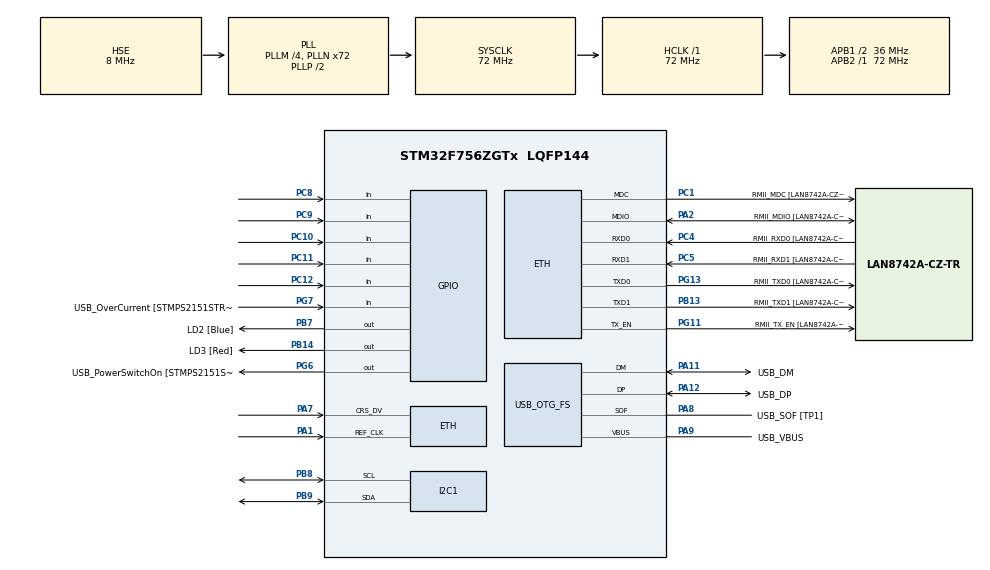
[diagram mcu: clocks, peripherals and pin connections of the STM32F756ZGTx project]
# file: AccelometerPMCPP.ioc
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ETH.MediaInterface=HAL_ETH_RMII_MODE
ETH.PHY_Name=LAN8742A_PHY_ADDRESS
ETH.PHY_Value=0
ETH.PhyAddress=0
I2C1.Timing=0x00808CD2
LWIP.BSP.number=1
LWIP.GATEWAY_ADDRESS=003.053.008.250
LWIP.IP_ADDRESS=003.053.017.021
LWIP.LWIP_DHCP=0
LWIP.LWIP_DNS=1
LWIP.LWIP_SMTP=0
LWIP.LWIP_SNMP=0
LWIP.LWIP_SNTP=1
LWIP.NETMASK_ADDRESS=255.255.000.000
LWIP.Version=v2.1.2_Cube
LWIP0.BSP.STBoard=false
LWIP0.BSP.api=BSP_COMPONENT_DRIVER
LWIP0.BSP.component=LAN8742
LWIP0.BSP.instance=LAN8742
LWIP0.BSP.name=Driver_PHY
LWIP0.BSP.semaphore=S_LAN8742
LWIP0.BSP.solution=LAN8742
Mcu.Family=STM32F7
Mcu.Name=STM32F756ZGTx
Mcu.Package=LQFP144
NVIC.PriorityGroup=NVIC_PRIORITYGROUP_4
PA1.Mode=RMII
PA1.Signal=ETH_REF_CLK
PA10.GPIO_Label=USB_ID
PA10.Signal=USB_OTG_FS_ID
PA11.GPIO_Label=USB_DM
PA11.Mode=Device_Only
PA11.Signal=USB_OTG_FS_DM
PA12.GPIO_Label=USB_DP
PA12.Mode=Device_Only
PA12.Signal=USB_OTG_FS_DP
PA13.GPIO_Label=TMS
PA13.Mode=Serial_Wire
PA13.Signal=SYS_JTMS-SWDIO
PA14.GPIO_Label=TCK
PA14.Mode=Serial_Wire
PA14.Signal=SYS_JTCK-SWCLK
PA2.GPIO_Label=RMII_MDIO [LAN8742A-CZ-TR_MDIO]
PA2.Mode=RMII
PA2.Signal=ETH_MDIO
PA7.Mode=RMII
PA7.Signal=ETH_CRS_DV
PA8.GPIO_Label=USB_SOF [TP1]
PA8.Mode=Activate_SOF_FS
PA8.Signal=USB_OTG_FS_SOF
PA9.GPIO_Label=USB_VBUS
PA9.Mode=Activate_VBUS
PA9.Signal=USB_OTG_FS_VBUS
PB13.GPIO_Label=RMII_TXD1 [LAN8742A-CZ-TR_TXD1]
PB13.Mode=RMII
PB13.Signal=ETH_TXD1
PB14.GPIO_Label=LD3 [Red]
PB14.Signal=GPIO_Output
PB3.GPIO_Label=SW0
PB3.Signal=SYS_JTDO-SWO
PB7.GPIO_Label=LD2 [Blue]
PB7.Signal=GPIO_Output
PB8.Mode=I2C
PB8.Signal=I2C1_SCL
PB9.Mode=I2C
PB9.Signal=I2C1_SDA
PC1.GPIO_Label=RMII_MDC [LAN8742A-CZ-TR_MDC]
PC1.Mode=RMII
PC1.Signal=ETH_MDC
PC10.GPIO_PuPd=GPIO_PULLUP
PC10.Signal=GPIO_Input
PC11.GPIO_PuPd=GPIO_PULLUP
PC11.Signal=GPIO_Input
PC12.GPIO_PuPd=GPIO_PULLUP
PC12.Signal=GPIO_Input
PC14/OSC32_IN.Mode=LSE-External-Oscillator
PC14/OSC32_IN.Signal=RCC_OSC32_IN
PC15/OSC32_OUT.Mode=LSE-External-Oscillator
PC15/OSC32_OUT.Signal=RCC_OSC32_OUT
PC4.GPIO_Label=RMII_RXD0 [LAN8742A-CZ-TR_RXD0]
PC4.Mode=RMII
PC4.Signal=ETH_RXD0
PC5.GPIO_Label=RMII_RXD1 [LAN8742A-CZ-TR_RXD1]
PC5.Mode=RMII
PC5.Signal=ETH_RXD1
PC8.GPIO_PuPd=GPIO_PULLUP
PC8.Signal=GPIO_Input
PC9.GPIO_PuPd=GPIO_PULLUP
PC9.Signal=GPIO_Input
PD8.GPIO_Label=STLK_RX [STM32F103CBT6_PA3]
PD8.Signal=USART3_TX
PD9.GPIO_Label=STLK_TX [STM32F103CBT6_PA2]
PD9.Signal=USART3_RX
PG11.GPIO_Label=RMII_TX_EN [LAN8742A-CZ-TR_TXEN]
PG11.Mode=RMII
PG11.Signal=ETH_TX_EN
PG13.GPIO_Label=RMII_TXD0 [LAN8742A-CZ-TR_TXD0]
PG13.Mode=RMII
PG13.Signal=ETH_TXD0
PG6.GPIO_Label=USB_PowerSwitchOn [STMPS2151STR_EN]
PG6.Signal=GPIO_Output
PG7.GPIO_Label=USB_OverCurrent [STMPS2151STR_FAULT]
PG7.GPIO_PuPd=GPIO_NOPULL
PG7.Signal=GPIO_Input
PH0/OSC_IN.GPIO_Label=MCO [STM32F103CBT6_PA8]
PH0/OSC_IN.Mode=HSE-External-Clock-Source
PH0/OSC_IN.Signal=RCC_OSC_IN
PH1/OSC_OUT.Mode=HSE-External-Clock-Source
PH1/OSC_OUT.Signal=RCC_OSC_OUT
ProjectManager.HeapSize=0x200
ProjectManager.StackSize=0x400
ProjectManager.TargetToolchain=STM32CubeIDE
RCC.48MHZClocksFreq_Value=24000000
RCC.AHBFreq_Value=72000000
RCC.APB1CLKDivider=RCC_HCLK_DIV2
RCC.APB1Freq_Value=36000000
RCC.APB1TimFreq_Value=72000000
RCC.APB2Freq_Value=72000000
RCC.APB2TimFreq_Value=72000000
RCC.CortexFreq_Value=72000000
RCC.HCLKFreq_Value=72000000
RCC.HSE_VALUE=8000000
RCC.HSI_VALUE=16000000
RCC.PLLM=4
RCC.PLLMUL=RCC_PLL_MUL9
RCC.PLLN=72
RCC.PLLQ=3
RCC.PRESCALERUSB=RCC_USBCLKSOURCE_PLL_DIV1_5
RCC.RTCClockSelection=RCC_RTCCLKSOURCE_LSE
RCC.SYSCLKFreq_VALUE=72000000
RCC.SYSCLKSource=RCC_SYSCLKSOURCE_PLLCLK
RCC.SYSCLKSourceVirtual=RCC_SYSCLKSOURCE_PLLCLK
RCC.USBFreq_Value=48000000
RCC.VCOOutputFreq_Value=144000000
USB_OTG_FS.VirtualMode=Device_Only
VP_LWIP_VS_Enabled.Mode=Enabled
board=NUCLEO-F756ZG

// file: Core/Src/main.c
/* USER CODE BEGIN Header */
/**
  ******************************************************************************
  * @file           : main.c
  * @brief          : Main program body
  ******************************************************************************
  * @attention
  *
  * Copyright (c) 2025 STMicroelectronics.
  * All rights reserved.
  *
  * This software is licensed under terms that can be found in the LICENSE file
  * in the root directory of this software component.
  * If no LICENSE file comes with this software, it is provided AS-IS.
  *
  ******************************************************************************
  */
/* USER CODE END Header */
#include "main.h"
#include "i2c.h"
#include "lwip.h"
#include "usb_otg.h"
#include "gpio.h"

/* USER CODE BEGIN Includes */
#include "lwip/udp.h"
#include "adxl345.h"
#include <string.h>
#include <stdio.h>
#include "lwip/apps/sntp.h"
#include "lwip/ip_addr.h"
//#include <rtc.h>     // CubeMX wygenerowane pliki RTC
#include <time.h>
/* USER CODE END Includes */

void SystemClock_Config(void);

/* USER CODE BEGIN 0 */
extern I2C_HandleTypeDef hi2c1;
struct udp_pcb *udp;
ip_addr_t dest_ip;
uint16_t dest_port = 5005;
typedef struct {
    int16_t x_offset;
    int16_t y_offset;
    int16_t z_offset;
} CalibrationData;

CalibrationData calib = {0, 0, 0};

void calibrate_adxl345(void) {
    // Połóż akcelerometr na płaskiej powierzchni
    int32_t sum_x = 0, sum_y = 0, sum_z = 0;
    const int samples = 100;

    for(int i = 0; i < samples; i++) {
        int16_t x, y, z;
        ADXL345_ReadXYZ(&hi2c1, &x, &y, &z);
        sum_x += x;
        sum_y += y;
        sum_z += z;
        HAL_Delay(10);
    }

    // Oblicz offset - Z powinno pokazywać ~1g (256)
    calib.x_offset = sum_x / samples;
    calib.y_offset = sum_y / samples;
    calib.z_offset = (sum_z / samples) - 256; // Odejmij 1g

    printf("Kalibracja: X=%d, Y=%d, Z=%d\n",
           calib.x_offset, calib.y_offset, calib.z_offset);
}
void UDP_Init(void)
{
    udp = udp_new();
    IP4_ADDR(&dest_ip, 3,53,17,22); // <-- tu wpisz adres PC odbierającego dane 3.53.17.22 ///192,168,0,102
    udp_bind(udp, IP_ADDR_ANY, 5005); // port źródłowy
}
void sendMessageToRasp(int x, int y , int z)
{
         char msg[64];
         int len = sprintf(msg, " dane jakie wysyłam to  : %d,%d,%d", x, y, z);

         struct pbuf *p = pbuf_alloc(PBUF_TRANSPORT, len, PBUF_RAM);
         memcpy(p->payload, msg, len);
         udp_sendto(udp, p, &dest_ip, dest_port);
         pbuf_free(p);

}

/* USER CODE END 0 */

int main(void)
{

  /* MCU Configuration--------------------------------------------------------*/

  /* Reset of all peripherals, Initializes the Flash interface and the Systick. */
  HAL_Init();

  /* USER CODE BEGIN Init */
  HAL_Delay(500);

  // W main użyj skorygowanych wartości

  /* USER CODE END Init */

  /* Configure the system clock */
  SystemClock_Config();

  /* Initialize all configured peripherals */
  MX_GPIO_Init();
  MX_USB_OTG_FS_PCD_Init();
  MX_I2C1_Init();
  MX_LWIP_Init();
  /* USER CODE BEGIN 2 */

  ///StartNTP();     // uruchamia klienta NTP
  HAL_GPIO_WritePin(GPIOG, GPIO_PIN_6, GPIO_PIN_RESET);

  UDP_Init();
  const char *  ajpi;
  extern struct netif gnetif;
  ADXL345_Init(&hi2c1);
  for (int i = 0; i < 40; ++i) { // ~20s jeśli delay 500ms
             MX_LWIP_Process();
             if (gnetif.ip_addr.addr != 0) break;
             HAL_Delay(500);
         }

         // Wypisz IP na UART (jeśli printf skonfigurowany)
         {
             ip_addr_t ip = gnetif.ip_addr;
             if (ip.addr != 0) {
                 printf("Assigned IP: %s\r\n", ipaddr_ntoa(&ip));
                 ajpi = ipaddr_ntoa(&ip);
             } else {
                 printf("No IP assigned (DHCP failed)\r\n");
             }
         }
   int16_t x, y, z;
  // sendMessageToRasp(1,2,3); //Debug
   while (1)
   {

       MX_LWIP_Process(); // cubeMX wygenerowało - potrzebne w pętli
     //  sendMessageToRasp(1,1,1); // Debug

       GPIO_PinState state1 = HAL_GPIO_ReadPin(GPIOC,GPIO_PIN_9);

       if (state1!=GPIO_PIN_SET)
       {
         calibrate_adxl345();
       }
       if (ADXL345_ReadXYZ(&hi2c1, &x, &y, &z))
       {

    	       // Zastosuj kalibrację
    	       x -= calib.x_offset;
    	       y -= calib.y_offset;
    	       z -= calib.z_offset;

    	       HAL_GPIO_WritePin(GPIOG, GPIO_PIN_6, GPIO_PIN_RESET);

    	   //sendMessageToRasp(3,2,1);//Debug
           char msg[32];
           int len = sprintf(msg, " %d, %d, %d", x, y, z);
           struct pbuf *p = pbuf_alloc(PBUF_TRANSPORT, len, PBUF_RAM);
           memcpy(p->payload, msg, len);
           udp_sendto(udp, p, &dest_ip, dest_port);
           pbuf_free(p);

       }

       HAL_Delay(10); // ~50Hz
   }
  /* USER CODE END 2 */

  /* Infinite loop */

}

void SystemClock_Config(void)
{
  RCC_OscInitTypeDef RCC_OscInitStruct = {0};
  RCC_ClkInitTypeDef RCC_ClkInitStruct = {0};

  /** Configure LSE Drive Capability
  */
  HAL_PWR_EnableBkUpAccess();

  /** Configure the main internal regulator output voltage
  */
  __HAL_RCC_PWR_CLK_ENABLE();
  __HAL_PWR_VOLTAGESCALING_CONFIG(PWR_REGULATOR_VOLTAGE_SCALE3);

  /** Initializes the RCC Oscillators according to the specified parameters
  * in the RCC_OscInitTypeDef structure.
  */
  RCC_OscInitStruct.OscillatorType = RCC_OSCILLATORTYPE_HSE;
  RCC_OscInitStruct.HSEState = RCC_HSE_BYPASS;
  RCC_OscInitStruct.PLL.PLLState = RCC_PLL_ON;
  RCC_OscInitStruct.PLL.PLLSource = RCC_PLLSOURCE_HSE;
  RCC_OscInitStruct.PLL.PLLM = 4;
  RCC_OscInitStruct.PLL.PLLN = 72;
  RCC_OscInitStruct.PLL.PLLP = RCC_PLLP_DIV2;
  RCC_OscInitStruct.PLL.PLLQ = 3;
  if (HAL_RCC_OscConfig(&RCC_OscInitStruct) != HAL_OK)
  {
    Error_Handler();
  }

  /** Initializes the CPU, AHB and APB buses clocks
  */
  RCC_ClkInitStruct.ClockType = RCC_CLOCKTYPE_HCLK|RCC_CLOCKTYPE_SYSCLK
                              |RCC_CLOCKTYPE_PCLK1|RCC_CLOCKTYPE_PCLK2;
  RCC_ClkInitStruct.SYSCLKSource = RCC_SYSCLKSOURCE_PLLCLK;
  RCC_ClkInitStruct.AHBCLKDivider = RCC_SYSCLK_DIV1;
  RCC_ClkInitStruct.APB1CLKDivider = RCC_HCLK_DIV2;
  RCC_ClkInitStruct.APB2CLKDivider = RCC_HCLK_DIV1;

  if (HAL_RCC_ClockConfig(&RCC_ClkInitStruct, FLASH_LATENCY_2) != HAL_OK)
  {
    Error_Handler();
  }
}

void Error_Handler(void)
{
  /* USER CODE BEGIN Error_Handler_Debug */
  /* User can add his own implementation to report the HAL error return state */
  __disable_irq();
  while (1)
  {

	  sendMessageToRasp(0,0,0);//Debug

  }
  /* USER CODE END Error_Handler_Debug */
}
